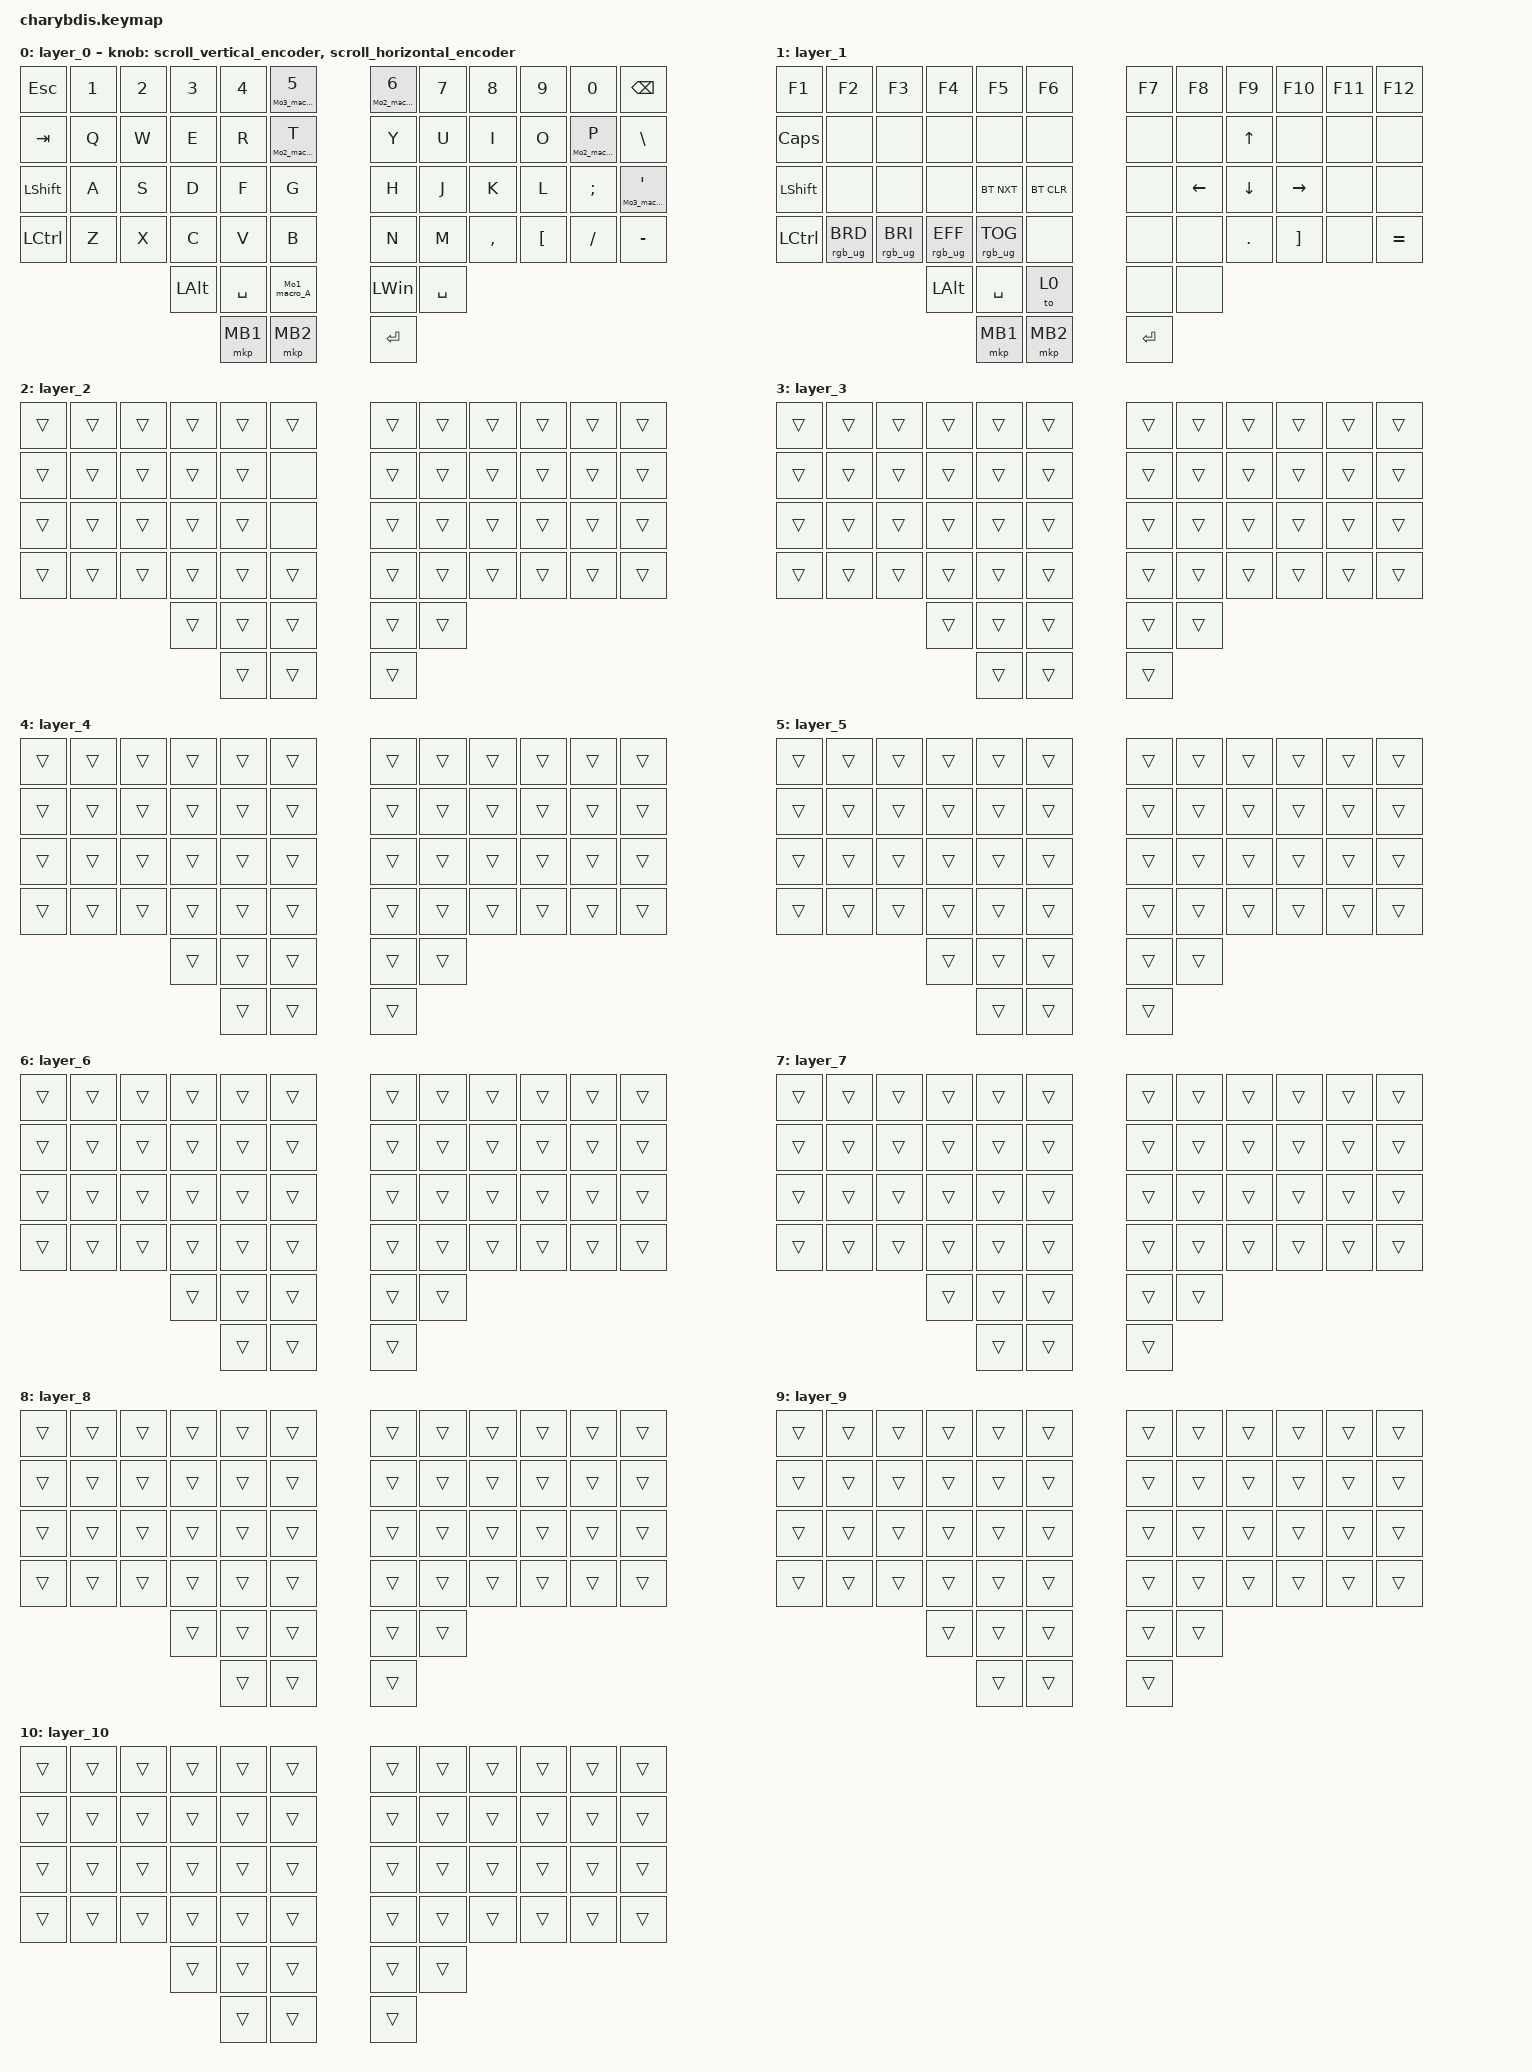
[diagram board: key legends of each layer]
#include <dt-bindings/zmk/mouse.h>
#include <input/processors.dtsi>
#include <zephyr/dt-bindings/input/input-event-codes.h>
#include <behaviors.dtsi>
#include <dt-bindings/zmk/bt.h>
#include <dt-bindings/zmk/keys.h>
#include <dt-bindings/zmk/pointing.h>
#include <dt-bindings/zmk/rgb.h>

#define ZMK_POINTING_DEFAULT_MOVE_VAL 1000 // 600
#define ZMK_POINTING_DEFAULT_SCRL_VAL 12   // 10

&lt {
    tapping-term-ms = <200>;
    flavor = "balanced";
    quick-tap-ms = <150>;
};

&mmv_input_listener { input-processors = <&zip_xy_scaler 2 1>; };

&msc_input_listener { input-processors = <&zip_scroll_scaler 2 1>; };

&msc {
    acceleration-exponent = <0>;      // 0
    time-to-max-speed-ms = <100>;       // 300
    delay-ms = <0>;                   // 0
};

&mmv {
    time-to-max-speed-ms = <500>;
    acceleration-exponent = <1>;
    trigger-period-ms = <16>;
};

/ {
    // 上下滚动编码器行为

    scroll_vertical_encoder: scroll_vertical_encoder {
        compatible = "zmk,behavior-sensor-rotate";
        #sensor-binding-cells = <0>;
        bindings = <&msc SCRL_DOWN>, <&msc SCRL_UP>;

        tap-ms = <100>;
    };

    // 左右滚动编码器行为

    scroll_horizontal_encoder: scroll_horizontal_encoder {
        compatible = "zmk,behavior-sensor-rotate";
        #sensor-binding-cells = <0>;
        bindings = <&msc SCRL_LEFT>, <&msc SCRL_RIGHT>;

        tap-ms = <100>;
    };

     behaviors {

        K5_layer3:K5_layer3 {
        compatible = "zmk,behavior-hold-tap";
        #binding-cells = <2>;
        tapping-term-ms = <200>;
        flavor = "tap-preferred";
        bindings = <&Mo3_macro_A>,<&kp>;  // 改成逗号分隔
        };

        K6_layer2:K6_layer2 {
        compatible = "zmk,behavior-hold-tap";
        #binding-cells = <2>;
        tapping-term-ms = <200>;
        flavor = "tap-preferred";
        bindings = <&Mo2_macro_A>,<&kp>;  // 改成逗号分隔
        };

        t_layer2:t_layer2 {
        compatible = "zmk,behavior-hold-tap";
        #binding-cells = <2>;
        tapping-term-ms = <200>;
        flavor = "tap-preferred";
        bindings = <&Mo2_macro_A>,<&kp>;  // 改成逗号分隔
        };

        aop_layer3:aop_layer3 {
        compatible = "zmk,behavior-hold-tap";
        #binding-cells = <2>;
        tapping-term-ms = <200>;
        flavor = "tap-preferred";
        bindings = <&Mo3_macro_A>,<&kp>;  // 改成逗号分隔
        };

        P_layer2:P_layer2 {
        compatible = "zmk,behavior-hold-tap";
        #binding-cells = <2>;
        tapping-term-ms = <200>;
        flavor = "tap-preferred";
        bindings = <&Mo2_macro_A>,<&kp>;  // 改成逗号分隔
        };


    };

    macros {
       
        Mo1_macro_A: Mo1_macro_A {
        compatible = "zmk,behavior-macro";
        #binding-cells = <0>;
        wait-ms = <0>;
        tap-ms = <0>;
        bindings = 
        <&macro_press &rgb_ug RGB_COLOR_HSB(0, 0, 80) &mo 1 >,
        <&macro_pause_for_release>,
         <&macro_tap &rgb_ug RGB_COLOR_HSB(0, 100, 100)>,
        <&macro_release &mo 1>;  // 用 &macro_tap 强制点击
        };

        Mo2_macro_A: Mo2_macro_A {
        compatible = "zmk,behavior-macro";
        #binding-cells = <0>;
        wait-ms = <0>;
        tap-ms = <0>;
        bindings = 
        <&macro_press &rgb_ug RGB_COLOR_HSB(40, 100, 80) &mo 2>,
        <&macro_pause_for_release>,
        <&macro_tap &rgb_ug RGB_COLOR_HSB(0, 100, 100)>,
        <&macro_release &mo 2> ;  // 用 &macro_tap 强制点击
        };

        Mo3_macro_A: Mo3_macro_A {
        compatible = "zmk,behavior-macro";
        #binding-cells = <0>;
        wait-ms = <0>;
        tap-ms = <0>;
        bindings = 
        <&macro_press &rgb_ug RGB_COLOR_HSB(120, 100, 80) &mo 3>,
        <&macro_pause_for_release>,
        <&macro_tap &rgb_ug RGB_COLOR_HSB(0, 100, 100)>,
        <&macro_release &mo 3>;  // 用 &macro_tap 强制点击
        };

    };

    keymap {
        compatible = "zmk,keymap";

        layer_0 {
            bindings = <
&kp ESC         &kp N1  &kp N2  &kp N3        &kp N4     &K5_layer3 0 N5      &K6_layer2 0 N6    &kp N7     &kp N8     &kp N9            &kp N0    &kp BACKSPACE
&kp TAB         &kp Q   &kp W   &kp E         &kp R      &t_layer2 0 T      &kp Y      &kp U      &kp I      &kp O             &P_layer2 0 P    &kp BSLH
&kp LEFT_SHIFT  &kp A   &kp S   &kp D         &kp F      &kp G       &kp H      &kp J      &kp K      &kp L             &kp SEMI  &aop_layer3 0 SQT
&kp LCTRL       &kp Z   &kp X   &kp C         &kp V      &kp B       &kp N      &kp M      &kp COMMA  &kp LEFT_BRACKET  &kp FSLH  &kp MINUS
                                &kp LEFT_ALT  &kp SPACE  &Mo1_macro_A      &kp LWIN   &kp SPACE
                                              &mkp MB1   &mkp MB2    &kp ENTER
            >;

            sensor-bindings =
                <&scroll_vertical_encoder>,
                // 编码器1：上下滚动,,
                <&scroll_horizontal_encoder>;

            // 编码器2：左右滚动
        };

        layer_1 {
            bindings = <
&kp F1          &kp F2           &kp F3           &kp F4           &kp F5           &kp F6        &kp F7     &kp F8    &kp F9      &kp F10            &kp F11  &kp F12
&kp CAPS        &none            &none            &none            &none            &none         &none      &none     &kp UP      &none              &none    &none
&kp LEFT_SHIFT  &none            &none            &none            &bt BT_NXT       &bt BT_CLR    &none      &kp LEFT  &kp DOWN    &kp RIGHT          &none    &none
&kp LCTRL       &rgb_ug RGB_BRD  &rgb_ug RGB_BRI  &rgb_ug RGB_EFF  &rgb_ug RGB_TOG  &none         &none      &none     &kp PERIOD  &kp RIGHT_BRACKET  &none    &kp EQUAL
                                                  &kp LEFT_ALT     &kp SPACE        &to 0         &none      &none
                                                                   &mkp MB1         &mkp MB2      &kp ENTER
            >;
        };

        layer_2 {
            bindings = <
&trans  &trans  &trans  &trans  &trans  &trans    &trans  &trans  &trans  &trans  &trans  &trans
&trans  &trans  &trans  &trans  &trans  &none     &trans  &trans  &trans  &trans  &trans  &trans
&trans  &trans  &trans  &trans  &trans  &none     &trans  &trans  &trans  &trans  &trans  &trans
&trans  &trans  &trans  &trans  &trans  &trans    &trans  &trans  &trans  &trans  &trans  &trans
                        &trans  &trans  &trans    &trans  &trans
                                &trans  &trans    &trans
            >;
        };

        layer_3 {
            bindings = <
&trans  &trans  &trans  &trans  &trans  &trans    &trans  &trans  &trans  &trans  &trans  &trans
&trans  &trans  &trans  &trans  &trans  &trans    &trans  &trans  &trans  &trans  &trans  &trans
&trans  &trans  &trans  &trans  &trans  &trans    &trans  &trans  &trans  &trans  &trans  &trans
&trans  &trans  &trans  &trans  &trans  &trans    &trans  &trans  &trans  &trans  &trans  &trans
                        &trans  &trans  &trans    &trans  &trans
                                &trans  &trans    &trans
            >;
        };

        layer_4 {
            bindings = <
&trans  &trans  &trans  &trans  &trans  &trans    &trans  &trans  &trans  &trans  &trans  &trans
&trans  &trans  &trans  &trans  &trans  &trans    &trans  &trans  &trans  &trans  &trans  &trans
&trans  &trans  &trans  &trans  &trans  &trans    &trans  &trans  &trans  &trans  &trans  &trans
&trans  &trans  &trans  &trans  &trans  &trans    &trans  &trans  &trans  &trans  &trans  &trans
                        &trans  &trans  &trans    &trans  &trans
                                &trans  &trans    &trans
            >;
        };

        layer_5 {
            bindings = <
&trans  &trans  &trans  &trans  &trans  &trans    &trans  &trans  &trans  &trans  &trans  &trans
&trans  &trans  &trans  &trans  &trans  &trans    &trans  &trans  &trans  &trans  &trans  &trans
&trans  &trans  &trans  &trans  &trans  &trans    &trans  &trans  &trans  &trans  &trans  &trans
&trans  &trans  &trans  &trans  &trans  &trans    &trans  &trans  &trans  &trans  &trans  &trans
                        &trans  &trans  &trans    &trans  &trans
                                &trans  &trans    &trans
            >;
        };

        layer_6 {
            bindings = <
&trans  &trans  &trans  &trans  &trans  &trans    &trans  &trans  &trans  &trans  &trans  &trans
&trans  &trans  &trans  &trans  &trans  &trans    &trans  &trans  &trans  &trans  &trans  &trans
&trans  &trans  &trans  &trans  &trans  &trans    &trans  &trans  &trans  &trans  &trans  &trans
&trans  &trans  &trans  &trans  &trans  &trans    &trans  &trans  &trans  &trans  &trans  &trans
                        &trans  &trans  &trans    &trans  &trans
                                &trans  &trans    &trans
            >;
        };

        layer_7 {
            bindings = <
&trans  &trans  &trans  &trans  &trans  &trans    &trans  &trans  &trans  &trans  &trans  &trans
&trans  &trans  &trans  &trans  &trans  &trans    &trans  &trans  &trans  &trans  &trans  &trans
&trans  &trans  &trans  &trans  &trans  &trans    &trans  &trans  &trans  &trans  &trans  &trans
&trans  &trans  &trans  &trans  &trans  &trans    &trans  &trans  &trans  &trans  &trans  &trans
                        &trans  &trans  &trans    &trans  &trans
                                &trans  &trans    &trans
            >;
        };

        layer_8 {
            bindings = <
&trans  &trans  &trans  &trans  &trans  &trans    &trans  &trans  &trans  &trans  &trans  &trans
&trans  &trans  &trans  &trans  &trans  &trans    &trans  &trans  &trans  &trans  &trans  &trans
&trans  &trans  &trans  &trans  &trans  &trans    &trans  &trans  &trans  &trans  &trans  &trans
&trans  &trans  &trans  &trans  &trans  &trans    &trans  &trans  &trans  &trans  &trans  &trans
                        &trans  &trans  &trans    &trans  &trans
                                &trans  &trans    &trans
            >;
        };

        layer_9 {
            bindings = <
&trans  &trans  &trans  &trans  &trans  &trans    &trans  &trans  &trans  &trans  &trans  &trans
&trans  &trans  &trans  &trans  &trans  &trans    &trans  &trans  &trans  &trans  &trans  &trans
&trans  &trans  &trans  &trans  &trans  &trans    &trans  &trans  &trans  &trans  &trans  &trans
&trans  &trans  &trans  &trans  &trans  &trans    &trans  &trans  &trans  &trans  &trans  &trans
                        &trans  &trans  &trans    &trans  &trans
                                &trans  &trans    &trans
            >;
        };

        layer_10 {
            bindings = <
&trans  &trans  &trans  &trans  &trans  &trans    &trans  &trans  &trans  &trans  &trans  &trans
&trans  &trans  &trans  &trans  &trans  &trans    &trans  &trans  &trans  &trans  &trans  &trans
&trans  &trans  &trans  &trans  &trans  &trans    &trans  &trans  &trans  &trans  &trans  &trans
&trans  &trans  &trans  &trans  &trans  &trans    &trans  &trans  &trans  &trans  &trans  &trans
                        &trans  &trans  &trans    &trans  &trans
                                &trans  &trans    &trans
            >;
        };

        /* layer_2 {
            bindings = <
&none  &none   &none    &none   &none         &none         &kp N1         &none         &none     &none  &none   &to 0
&none  &none   &none    &none   &none         &none         &none         &none          &rgb_ug RGB_BRD &rgb_ug RGB_BRI  &rgb_ug RGB_EFF   &rgb_ug RGB_TOG
&none  &none   &none    &none   &none         &none         &none         &mkp LCLK     &mkp RCLK  &none  &none   &none
&none  &none   &none    &none   &bt BT_NXT  &bt BT_CLR    &none         &none         &none     &none  &none   &none
                                   &none         &none         &none         &none         &none
                                                 &none         &none         &none
            >;
       
            
        };

       Mouse {
            bindings = <
&none        &none         &none         &none         &none      &none         &none       &none      &none         &none         &none         &none
&none        &bt BT_SEL 0  &bt BT_SEL 1  &bt BT_SEL 3  &none      &bt BT_CLR    &bt BT_CLR  &none      &bt BT_SEL 2  &bt BT_SEL 1  &bt BT_SEL 0  &none
&none        &trans        &trans        &mkp MCLK     &trans     &none         &none       &trans     &mkp MCLK     &trans        &trans        &none
&bootloader  &trans        &mkp RCLK     &mo 4         &mkp LCLK  &mo 5         &mo 5       &mkp LCLK  &mo 4         &mkp RCLK     &trans        &bootloader
                                         &mo 5         &mkp LCLK  &mkp RCLK     &mkp RCLK   &mkp LCLK
                                                       &none      &trans        &trans
            >;

            
        };

        layer_4 {
            bindings = <
&trans  &trans  &trans     &trans     &trans     &trans       &trans     &trans     &trans     &trans     &trans  &trans
&trans  &trans  &trans     &trans     &trans     &trans       &trans     &trans     &trans     &trans     &trans  &trans
&trans  &trans  &trans     &mkp MCLK  &trans     &trans       &trans     &trans     &mkp MCLK  &trans     &trans  &trans
&trans  &trans  &mkp RCLK  &trans     &mkp LCLK  &trans       &trans     &mkp LCLK  &trans     &mkp RCLK  &trans  &trans
                           &trans     &mkp LCLK  &mkp RCLK    &mkp RCLK  &mkp LCLK
                                      &trans     &trans       &trans
            >;
                
                
               
        };

        layer_5 {
            bindings = <
&trans  &trans  &trans     &trans     &trans     &trans       &trans     &trans     &trans     &trans     &trans  &trans
&trans  &trans  &trans     &trans     &trans     &trans       &trans     &trans     &trans     &trans     &trans  &trans
&trans  &trans  &trans     &mkp MCLK  &trans     &trans       &trans     &trans     &mkp MCLK  &trans     &trans  &trans
&trans  &trans  &mkp RCLK  &trans     &mkp LCLK  &trans       &trans     &mkp LCLK  &trans     &mkp RCLK  &trans  &trans
                           &trans     &mkp LCLK  &mkp RCLK    &mkp RCLK  &mkp LCLK
                                      &trans     &trans       &trans
            >;
                
                
        };*/
    };
};
